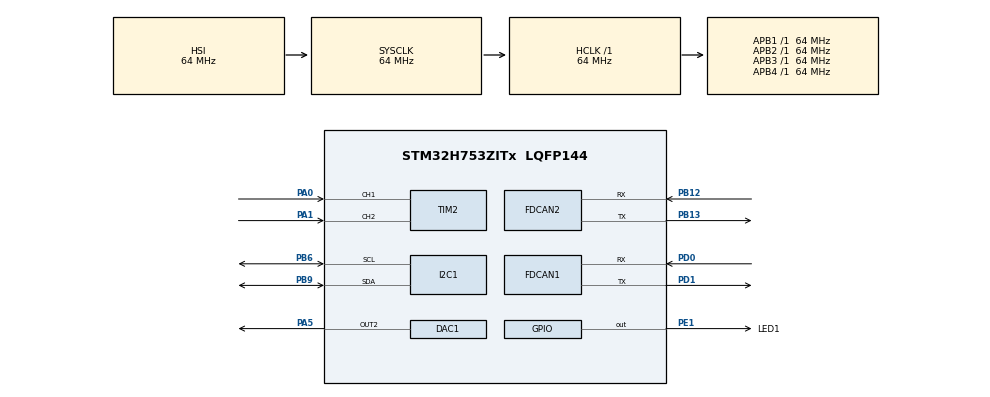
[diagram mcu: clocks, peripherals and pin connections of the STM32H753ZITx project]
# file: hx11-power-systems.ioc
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CORTEX_M7.default_mode_Activation=1
DAC1.DAC_Channel-DAC_OUT2=DAC_CHANNEL_2
FDCAN1.CalculateBaudRateNominal=250000
FDCAN1.CalculateTimeBitNominal=4000
FDCAN1.CalculateTimeQuantumNominal=250.0
FDCAN1.ClockCalibrationCCU=DISABLE
FDCAN1.ExtFiltersNbr=2
FDCAN1.NominalPrescaler=10
FDCAN1.NominalTimeSeg1=13
FDCAN1.NominalTimeSeg2=2
FDCAN1.RxFifo0ElmtsNbr=4
FDCAN2.CalculateBaudRateNominal=500000
FDCAN2.CalculateTimeBitNominal=2000
FDCAN2.CalculateTimeQuantumNominal=125.0
FDCAN2.ExtFiltersNbr=2
FDCAN2.NominalPrescaler=5
FDCAN2.NominalTimeSeg1=13
FDCAN2.NominalTimeSeg2=2
FDCAN2.RxFifo1ElmtsNbr=10
I2C1.Timing=0x00000E14
Mcu.Family=STM32H7
Mcu.Name=STM32H753ZITx
Mcu.Package=LQFP144
NVIC.FDCAN1_IT0_IRQn=true\:0\:0\:false\:false\:true\:true\:true\:true
NVIC.FDCAN2_IT1_IRQn=true\:0\:0\:false\:false\:true\:true\:true\:true
NVIC.I2C1_ER_IRQn=true\:0\:0\:false\:false\:true\:true\:true\:true
NVIC.I2C1_EV_IRQn=true\:0\:0\:false\:false\:true\:true\:true\:true
NVIC.PriorityGroup=NVIC_PRIORITYGROUP_4
NVIC.TIM2_IRQn=true\:0\:0\:false\:false\:true\:true\:true\:true
PA0.Signal=S_TIM2_CH1_ETR
PA1.Signal=S_TIM2_CH2
PA5.Signal=COMP_DAC12_group
PB12.Mode=FDCAN_Activate
PB12.Signal=FDCAN2_RX
PB13.Mode=FDCAN_Activate
PB13.Signal=FDCAN2_TX
PB6.GPIO_Pu=GPIO_PULLUP
PB6.GPIO_Speed=GPIO_SPEED_FREQ_HIGH
PB6.Mode=I2C
PB6.Signal=I2C1_SCL
PB9.GPIO_Pu=GPIO_PULLUP
PB9.GPIO_Speed=GPIO_SPEED_FREQ_HIGH
PB9.Mode=I2C
PB9.Signal=I2C1_SDA
PD0.GPIO_PuPd=GPIO_PULLUP
PD0.Mode=FDCAN_Activate
PD0.Signal=FDCAN1_RX
PD1.GPIO_PuPd=GPIO_PULLUP
PD1.Mode=FDCAN_Activate
PD1.Signal=FDCAN1_TX
PE1.GPIO_Label=LED1
PE1.Signal=GPIO_Output
ProjectManager.HeapSize=0x200
ProjectManager.StackSize=0x400
ProjectManager.TargetToolchain=STM32CubeIDE
RCC.ADCFreq_Value=129000000
RCC.APB1Freq_Value=64000000
RCC.APB2Freq_Value=64000000
RCC.APB3Freq_Value=64000000
RCC.APB4Freq_Value=64000000
RCC.CortexFreq_Value=64000000
RCC.DIVM1=4
RCC.DIVN1=10
RCC.DIVQ1=4
RCC.HCLKFreq_Value=64000000
RCC.I2C123CLockSelection=RCC_I2C123CLKSOURCE_CSI
RCC.PLLFRACN=0
RCC.SYSCLKFreq_VALUE=64000000
RCC.USBFreq_Value=40000000
SH.COMP_DAC12_group.0=DAC1_OUT2,DAC_OUT2
SH.S_TIM2_CH1_ETR.0=TIM2_CH1,Encoder_Interface
SH.S_TIM2_CH2.0=TIM2_CH2,Encoder_Interface
TIM2.EncoderMode=TIM_ENCODERMODE_TI12
TIM2.IC1Polarity=TIM_ICPOLARITY_FALLING
TIM2.IC2Polarity=TIM_ICPOLARITY_FALLING
VP_MEMORYMAP_VS_MEMORYMAP.Mode=CurAppReg
board=custom

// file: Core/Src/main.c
/* USER CODE BEGIN Header */
/**
  ******************************************************************************
  * @file           : main.c
  * @brief          : Main program body
  ******************************************************************************
  * @attention
  *
  * Copyright (c) 2026 STMicroelectronics.
  * All rights reserved.
  *
  * This software is licensed under terms that can be found in the LICENSE file
  * in the root directory of this software component.
  * If no LICENSE file comes with this software, it is provided AS-IS.
  *
  ******************************************************************************
  */
/* USER CODE END Header */
#include "main.h"

/* USER CODE BEGIN Includes */
#include <stdio.h>

#include "can.h"
#include "throttleDriver.h"
#include "encoder.h"
/* USER CODE END Includes */

DAC_HandleTypeDef hdac1;

FDCAN_HandleTypeDef hfdcan1;
FDCAN_HandleTypeDef hfdcan2;

I2C_HandleTypeDef hi2c1;

TIM_HandleTypeDef htim2;

void SystemClock_Config(void);
static void MPU_Config(void);
static void MX_GPIO_Init(void);
static void MX_FDCAN1_Init(void);
static void MX_DAC1_Init(void);
static void MX_TIM2_Init(void);
static void MX_I2C1_Init(void);
static void MX_FDCAN2_Init(void);

/* USER CODE BEGIN 0 */
int debug0;
int debug1;
int debug2;
int debug3;
int debug4;
int debug5;
int debug_TEC;
int debug_REC;
int debug_PSR;
int debug_CCCR;
int debug_head500_snap;
int debug_tail500_snap;

VFD_CAN_Data vfdData;
BMS_CAN_Data bmsData;
IMD_CAN_Data imdData;

/* USER CODE END 0 */

int main(void)
{

  /* MPU Configuration--------------------------------------------------------*/
  MPU_Config();

  /* MCU Configuration--------------------------------------------------------*/

  /* Reset of all peripherals, Initializes the Flash interface and the Systick. */
  HAL_Init();

  /* Configure the system clock */
  SystemClock_Config();

  /* Initialize all configured peripherals */
  MX_GPIO_Init();
  MX_FDCAN1_Init();
  MX_DAC1_Init();
  MX_TIM2_Init();
  MX_I2C1_Init();
  MX_FDCAN2_Init();
  /* USER CODE BEGIN 2 */

  // can line 1
  HAL_NVIC_SetPriority(FDCAN1_IT0_IRQn, 5, 0);
  HAL_NVIC_EnableIRQ(FDCAN1_IT0_IRQn);

  //can line 2
  HAL_NVIC_SetPriority(FDCAN2_IT1_IRQn, 5, 0);
  HAL_NVIC_EnableIRQ(FDCAN2_IT1_IRQn);

  /*
   FDCAN_FilterTypeDef sFilter;

   // ----- FDCAN2 (500 kbps) -----
   sFilter.IdType = FDCAN_EXTENDED_ID;
   sFilter.FilterIndex = 0;
   sFilter.FilterType = FDCAN_FILTER_MASK;
   sFilter.FilterConfig = FDCAN_FILTER_TO_RXFIFO1;
   sFilter.FilterID1 = 0x00000000;   // accept all IDs temporarily - replace with kelly VFD ids once verified
   sFilter.FilterID2 = 0x00000000;   // mask = 0 → accept everything
   HAL_FDCAN_ConfigFilter(&hfdcan2, &sFilter);

   // ----- FDCAN1 (250 kbps) -----
   sFilter.FilterIndex = 1;
   sFilter.FilterConfig = FDCAN_FILTER_TO_RXFIFO0;
   HAL_FDCAN_ConfigFilter(&hfdcan1, &sFilter);
*/

  //CAN2 filter (250)
  FDCAN_FilterTypeDef filter2;
  filter2.IdType = FDCAN_EXTENDED_ID;
  filter2.FilterIndex = 1;
  filter2.FilterType = FDCAN_FILTER_MASK;
  filter2.FilterConfig = FDCAN_FILTER_TO_RXFIFO1;
  filter2.FilterID1 = 0;
  filter2.FilterID2 = 0;

  HAL_FDCAN_ConfigFilter(&hfdcan2, &filter2);

  // CAN1 filter (500)
  FDCAN_FilterTypeDef filter1;
  filter1.IdType = FDCAN_EXTENDED_ID;
  filter1.FilterIndex = 0;
  filter1.FilterType = FDCAN_FILTER_MASK;
  filter1.FilterConfig = FDCAN_FILTER_TO_RXFIFO0;
  filter1.FilterID1 = 0;
  filter1.FilterID2 = 0;

  HAL_FDCAN_ConfigFilter(&hfdcan1, &filter1);

  if ((HAL_FDCAN_Start(&hfdcan1) != HAL_OK))
  {
      Error_Handler();
  }

  if ((HAL_FDCAN_Start(&hfdcan2) != HAL_OK))
    {
        Error_Handler();
    }

  HAL_FDCAN_ConfigInterruptLines(&hfdcan1, FDCAN_IT_RX_FIFO0_NEW_MESSAGE, FDCAN_INTERRUPT_LINE0);

  HAL_FDCAN_ConfigInterruptLines(&hfdcan2, FDCAN_IT_RX_FIFO1_NEW_MESSAGE, FDCAN_INTERRUPT_LINE1);

  // Activate the notification for new data in FIFO0 for FDCAN1, FIFO1 for FDCAN2
  //this notification triggers the interrupt
  if ((HAL_FDCAN_ActivateNotification(&hfdcan1, FDCAN_IT_RX_FIFO0_NEW_MESSAGE, 0) != HAL_OK))
  {
      Error_Handler();
  }

  if ((HAL_FDCAN_ActivateNotification(&hfdcan2, FDCAN_IT_RX_FIFO1_NEW_MESSAGE, 0) != HAL_OK))
    {
        Error_Handler();
    }

  //=============================================================================

  //============================== ENCODER INITIALIZATION =======================
  HAL_TIM_Encoder_Start(&htim2, TIM_CHANNEL_ALL);
  //=============================================================================

  //PID throttlePID;
  /* USER CODE END 2 */

  /* Infinite loop */

  // Struct Definitions

  /* USER CODE BEGIN WHILE */
  while (1)
  {		 // can debugging
	  HAL_Delay(500);
	  HAL_GPIO_WritePin(GPIOB, GPIO_PIN_1, GPIO_PIN_RESET);
	  HAL_Delay(500);

	  process_CAN250_msgs();
	  process_CAN500_msgs();

	  // --- HARDWARE FIFO FILL LEVELS ---
	  // debug1 > 0 and not draining = interrupt not firing
	  // debug1 = 0 and can2_rx_count moving = draining correctly (good)
	  // debug1 = 0 and can2_rx_count stuck = nothing arriving at hardware level
	  debug1 = HAL_FDCAN_GetRxFifoFillLevel(&hfdcan2, FDCAN_RX_FIFO1); // CAN2 (BMS)
	  debug2 = HAL_FDCAN_GetRxFifoFillLevel(&hfdcan1, FDCAN_RX_FIFO0); // CAN1 (VFD)

	  // --- BUS ERROR COUNTERS ---
	  // TEC 0      = no errors, good
	  // TEC 1-127  = error active, degraded but working
	  // TEC 128-254= error passive, BMS retransmitting heavily
	  // TEC 255    = Bus-Off, FDCAN2 fully dead until manual recovery
	  // REC near 0 = BMS transmitting cleanly
	  // REC rising = baud rate mismatch or bad signal
	  debug_TEC = (int)((hfdcan2.Instance->ECR & 0xFF00) >> 8);
	  debug_REC = (int)(hfdcan2.Instance->ECR & 0x00FF);

	  // --- PROTOCOL STATUS REGISTER ---
	  // Bits [2:0]: 0=syncing, 1=idle (OK), 2=receiving (OK), 3=transmitting
	  // Bit  [7]:   Error Passive flag
	  // Bit  [8]:   Bus-Off flag — if set, TEC=255 confirmed
	  debug_PSR = hfdcan2.Instance->PSR;

	  // --- CONTROL REGISTER ---
	  // 0x00000000 = normal operation (good)
	  // Bit 6 set  = Bus Monitoring / listen-only active
	  // Bit 4 set  = Restricted mode (bad, shouldn't be set)
	  debug_CCCR = hfdcan2.Instance->CCCR;

	  // --- SOFTWARE QUEUE HEALTH ---
	  // head == tail always = queue always empty
	  // gap stuck at CAN_QUEUE_SIZE-1 = queue full, dropping messages
	  debug_head500_snap = head500;
	  debug_tail500_snap = tail500;

    /* USER CODE END WHILE */

  }
}

void SystemClock_Config(void)
{
  RCC_OscInitTypeDef RCC_OscInitStruct = {0};
  RCC_ClkInitTypeDef RCC_ClkInitStruct = {0};

  /** Supply configuration update enable
  */
  HAL_PWREx_ConfigSupply(PWR_LDO_SUPPLY);

  /** Configure the main internal regulator output voltage
  */
  __HAL_PWR_VOLTAGESCALING_CONFIG(PWR_REGULATOR_VOLTAGE_SCALE3);

  while(!__HAL_PWR_GET_FLAG(PWR_FLAG_VOSRDY)) {}

  /** Initializes the RCC Oscillators according to the specified parameters
  * in the RCC_OscInitTypeDef structure.
  */
  RCC_OscInitStruct.OscillatorType = RCC_OSCILLATORTYPE_CSI|RCC_OSCILLATORTYPE_HSI;
  RCC_OscInitStruct.HSIState = RCC_HSI_DIV1;
  RCC_OscInitStruct.HSICalibrationValue = RCC_HSICALIBRATION_DEFAULT;
  RCC_OscInitStruct.CSIState = RCC_CSI_ON;
  RCC_OscInitStruct.CSICalibrationValue = RCC_CSICALIBRATION_DEFAULT;
  RCC_OscInitStruct.PLL.PLLState = RCC_PLL_ON;
  RCC_OscInitStruct.PLL.PLLSource = RCC_PLLSOURCE_HSI;
  RCC_OscInitStruct.PLL.PLLM = 4;
  RCC_OscInitStruct.PLL.PLLN = 10;
  RCC_OscInitStruct.PLL.PLLP = 2;
  RCC_OscInitStruct.PLL.PLLQ = 4;
  RCC_OscInitStruct.PLL.PLLR = 2;
  RCC_OscInitStruct.PLL.PLLRGE = RCC_PLL1VCIRANGE_3;
  RCC_OscInitStruct.PLL.PLLVCOSEL = RCC_PLL1VCOMEDIUM;
  RCC_OscInitStruct.PLL.PLLFRACN = 0;
  if (HAL_RCC_OscConfig(&RCC_OscInitStruct) != HAL_OK)
  {
    Error_Handler();
  }

  /** Initializes the CPU, AHB and APB buses clocks
  */
  RCC_ClkInitStruct.ClockType = RCC_CLOCKTYPE_HCLK|RCC_CLOCKTYPE_SYSCLK
                              |RCC_CLOCKTYPE_PCLK1|RCC_CLOCKTYPE_PCLK2
                              |RCC_CLOCKTYPE_D3PCLK1|RCC_CLOCKTYPE_D1PCLK1;
  RCC_ClkInitStruct.SYSCLKSource = RCC_SYSCLKSOURCE_HSI;
  RCC_ClkInitStruct.SYSCLKDivider = RCC_SYSCLK_DIV1;
  RCC_ClkInitStruct.AHBCLKDivider = RCC_HCLK_DIV1;
  RCC_ClkInitStruct.APB3CLKDivider = RCC_APB3_DIV1;
  RCC_ClkInitStruct.APB1CLKDivider = RCC_APB1_DIV1;
  RCC_ClkInitStruct.APB2CLKDivider = RCC_APB2_DIV1;
  RCC_ClkInitStruct.APB4CLKDivider = RCC_APB4_DIV1;

  if (HAL_RCC_ClockConfig(&RCC_ClkInitStruct, FLASH_LATENCY_1) != HAL_OK)
  {
    Error_Handler();
  }
}

static void MX_DAC1_Init(void)
{

  DAC_ChannelConfTypeDef sConfig = {0};

  /** DAC Initialization
  */
  hdac1.Instance = DAC1;
  if (HAL_DAC_Init(&hdac1) != HAL_OK)
  {
    Error_Handler();
  }

  /** DAC channel OUT2 config
  */
  sConfig.DAC_SampleAndHold = DAC_SAMPLEANDHOLD_DISABLE;
  sConfig.DAC_Trigger = DAC_TRIGGER_NONE;
  sConfig.DAC_OutputBuffer = DAC_OUTPUTBUFFER_ENABLE;
  sConfig.DAC_ConnectOnChipPeripheral = DAC_CHIPCONNECT_DISABLE;
  sConfig.DAC_UserTrimming = DAC_TRIMMING_FACTORY;
  if (HAL_DAC_ConfigChannel(&hdac1, &sConfig, DAC_CHANNEL_2) != HAL_OK)
  {
    Error_Handler();
  }
  /* USER CODE BEGIN DAC1_Init 2 */
  HAL_DAC_Start(&hdac1, DAC_CHANNEL_2);
  /* USER CODE END DAC1_Init 2 */

}

static void MX_FDCAN1_Init(void)
{

  hfdcan1.Instance = FDCAN1;
  hfdcan1.Init.FrameFormat = FDCAN_FRAME_CLASSIC;
  hfdcan1.Init.Mode = FDCAN_MODE_NORMAL;
  hfdcan1.Init.AutoRetransmission = DISABLE;
  hfdcan1.Init.TransmitPause = DISABLE;
  hfdcan1.Init.ProtocolException = DISABLE;
  hfdcan1.Init.NominalPrescaler = 5;
  hfdcan1.Init.NominalSyncJumpWidth = 1;
  hfdcan1.Init.NominalTimeSeg1 = 13;
  hfdcan1.Init.NominalTimeSeg2 = 2;
  hfdcan1.Init.DataPrescaler = 1;
  hfdcan1.Init.DataSyncJumpWidth = 1;
  hfdcan1.Init.DataTimeSeg1 = 1;
  hfdcan1.Init.DataTimeSeg2 = 1;
  hfdcan1.Init.MessageRAMOffset = 0;
  hfdcan1.Init.StdFiltersNbr = 0;
  hfdcan1.Init.ExtFiltersNbr = 2;
  hfdcan1.Init.RxFifo0ElmtsNbr = 4;
  hfdcan1.Init.RxFifo0ElmtSize = FDCAN_DATA_BYTES_8;
  hfdcan1.Init.RxFifo1ElmtsNbr = 0;
  hfdcan1.Init.RxFifo1ElmtSize = FDCAN_DATA_BYTES_8;
  hfdcan1.Init.RxBuffersNbr = 0;
  hfdcan1.Init.RxBufferSize = FDCAN_DATA_BYTES_8;
  hfdcan1.Init.TxEventsNbr = 0;
  hfdcan1.Init.TxBuffersNbr = 0;
  hfdcan1.Init.TxFifoQueueElmtsNbr = 0;
  hfdcan1.Init.TxFifoQueueMode = FDCAN_TX_FIFO_OPERATION;
  hfdcan1.Init.TxElmtSize = FDCAN_DATA_BYTES_8;
  if (HAL_FDCAN_Init(&hfdcan1) != HAL_OK)
  {
    Error_Handler();
  }

}

static void MX_FDCAN2_Init(void)
{

  hfdcan2.Instance = FDCAN2;
  hfdcan2.Init.FrameFormat = FDCAN_FRAME_CLASSIC;
  hfdcan2.Init.Mode = FDCAN_MODE_NORMAL;
  hfdcan2.Init.AutoRetransmission = DISABLE;
  hfdcan2.Init.TransmitPause = DISABLE;
  hfdcan2.Init.ProtocolException = DISABLE;
  hfdcan2.Init.NominalPrescaler = 5;
  hfdcan2.Init.NominalSyncJumpWidth = 1;
  hfdcan2.Init.NominalTimeSeg1 = 13;
  hfdcan2.Init.NominalTimeSeg2 = 2;
  hfdcan2.Init.DataPrescaler = 1;
  hfdcan2.Init.DataSyncJumpWidth = 1;
  hfdcan2.Init.DataTimeSeg1 = 1;
  hfdcan2.Init.DataTimeSeg2 = 1;
  hfdcan2.Init.MessageRAMOffset = 304;
  hfdcan2.Init.StdFiltersNbr = 0;
  hfdcan2.Init.ExtFiltersNbr = 2;
  hfdcan2.Init.RxFifo0ElmtsNbr = 0;
  hfdcan2.Init.RxFifo0ElmtSize = FDCAN_DATA_BYTES_8;
  hfdcan2.Init.RxFifo1ElmtsNbr = 10;
  hfdcan2.Init.RxFifo1ElmtSize = FDCAN_DATA_BYTES_8;
  hfdcan2.Init.RxBuffersNbr = 0;
  hfdcan2.Init.RxBufferSize = FDCAN_DATA_BYTES_8;
  hfdcan2.Init.TxEventsNbr = 0;
  hfdcan2.Init.TxBuffersNbr = 0;
  hfdcan2.Init.TxFifoQueueElmtsNbr = 0;
  hfdcan2.Init.TxFifoQueueMode = FDCAN_TX_FIFO_OPERATION;
  hfdcan2.Init.TxElmtSize = FDCAN_DATA_BYTES_8;
  if (HAL_FDCAN_Init(&hfdcan2) != HAL_OK)
  {
    Error_Handler();
  }

}

static void MX_I2C1_Init(void)
{

  hi2c1.Instance = I2C1;
  hi2c1.Init.Timing = 0x00000E14;
  hi2c1.Init.OwnAddress1 = 0;
  hi2c1.Init.AddressingMode = I2C_ADDRESSINGMODE_7BIT;
  hi2c1.Init.DualAddressMode = I2C_DUALADDRESS_DISABLE;
  hi2c1.Init.OwnAddress2 = 0;
  hi2c1.Init.OwnAddress2Masks = I2C_OA2_NOMASK;
  hi2c1.Init.GeneralCallMode = I2C_GENERALCALL_DISABLE;
  hi2c1.Init.NoStretchMode = I2C_NOSTRETCH_DISABLE;
  if (HAL_I2C_Init(&hi2c1) != HAL_OK)
  {
    Error_Handler();
  }

  /** Configure Analogue filter
  */
  if (HAL_I2CEx_ConfigAnalogFilter(&hi2c1, I2C_ANALOGFILTER_ENABLE) != HAL_OK)
  {
    Error_Handler();
  }

  /** Configure Digital filter
  */
  if (HAL_I2CEx_ConfigDigitalFilter(&hi2c1, 0) != HAL_OK)
  {
    Error_Handler();
  }

}

static void MX_TIM2_Init(void)
{

  TIM_Encoder_InitTypeDef sConfig = {0};
  TIM_MasterConfigTypeDef sMasterConfig = {0};

  htim2.Instance = TIM2;
  htim2.Init.Prescaler = 0;
  htim2.Init.CounterMode = TIM_COUNTERMODE_UP;
  htim2.Init.Period = 4294967295;
  htim2.Init.ClockDivision = TIM_CLOCKDIVISION_DIV1;
  htim2.Init.AutoReloadPreload = TIM_AUTORELOAD_PRELOAD_DISABLE;
  sConfig.EncoderMode = TIM_ENCODERMODE_TI12;
  sConfig.IC1Polarity = TIM_ICPOLARITY_FALLING;
  sConfig.IC1Selection = TIM_ICSELECTION_DIRECTTI;
  sConfig.IC1Prescaler = TIM_ICPSC_DIV1;
  sConfig.IC1Filter = 0;
  sConfig.IC2Polarity = TIM_ICPOLARITY_FALLING;
  sConfig.IC2Selection = TIM_ICSELECTION_DIRECTTI;
  sConfig.IC2Prescaler = TIM_ICPSC_DIV1;
  sConfig.IC2Filter = 0;
  if (HAL_TIM_Encoder_Init(&htim2, &sConfig) != HAL_OK)
  {
    Error_Handler();
  }
  sMasterConfig.MasterOutputTrigger = TIM_TRGO_RESET;
  sMasterConfig.MasterSlaveMode = TIM_MASTERSLAVEMODE_DISABLE;
  if (HAL_TIMEx_MasterConfigSynchronization(&htim2, &sMasterConfig) != HAL_OK)
  {
    Error_Handler();
  }

}

static void MX_GPIO_Init(void)
{
  GPIO_InitTypeDef GPIO_InitStruct = {0};

  /* GPIO Ports Clock Enable */
  __HAL_RCC_GPIOA_CLK_ENABLE();
  __HAL_RCC_GPIOB_CLK_ENABLE();
  __HAL_RCC_GPIOD_CLK_ENABLE();
  __HAL_RCC_GPIOE_CLK_ENABLE();

  /*Configure GPIO pin Output Level */
  HAL_GPIO_WritePin(LED1_GPIO_Port, LED1_Pin, GPIO_PIN_RESET);

  /*Configure GPIO pin : LED1_Pin */
  GPIO_InitStruct.Pin = LED1_Pin;
  GPIO_InitStruct.Mode = GPIO_MODE_OUTPUT_PP;
  GPIO_InitStruct.Pull = GPIO_NOPULL;
  GPIO_InitStruct.Speed = GPIO_SPEED_FREQ_LOW;
  HAL_GPIO_Init(LED1_GPIO_Port, &GPIO_InitStruct);

}

 /* MPU Configuration */

void MPU_Config(void)
{
  MPU_Region_InitTypeDef MPU_InitStruct = {0};

  /* Disables the MPU */
  HAL_MPU_Disable();

  /** Initializes and configures the Region and the memory to be protected
  */
  MPU_InitStruct.Enable = MPU_REGION_ENABLE;
  MPU_InitStruct.Number = MPU_REGION_NUMBER0;
  MPU_InitStruct.BaseAddress = 0x0;
  MPU_InitStruct.Size = MPU_REGION_SIZE_4GB;
  MPU_InitStruct.SubRegionDisable = 0x87;
  MPU_InitStruct.TypeExtField = MPU_TEX_LEVEL0;
  MPU_InitStruct.AccessPermission = MPU_REGION_NO_ACCESS;
  MPU_InitStruct.DisableExec = MPU_INSTRUCTION_ACCESS_DISABLE;
  MPU_InitStruct.IsShareable = MPU_ACCESS_SHAREABLE;
  MPU_InitStruct.IsCacheable = MPU_ACCESS_NOT_CACHEABLE;
  MPU_InitStruct.IsBufferable = MPU_ACCESS_NOT_BUFFERABLE;

  HAL_MPU_ConfigRegion(&MPU_InitStruct);
  /* Enables the MPU */
  HAL_MPU_Enable(MPU_PRIVILEGED_DEFAULT);

}

void Error_Handler(void)
{
  __disable_irq();
  while (1)
  {
  }
}
